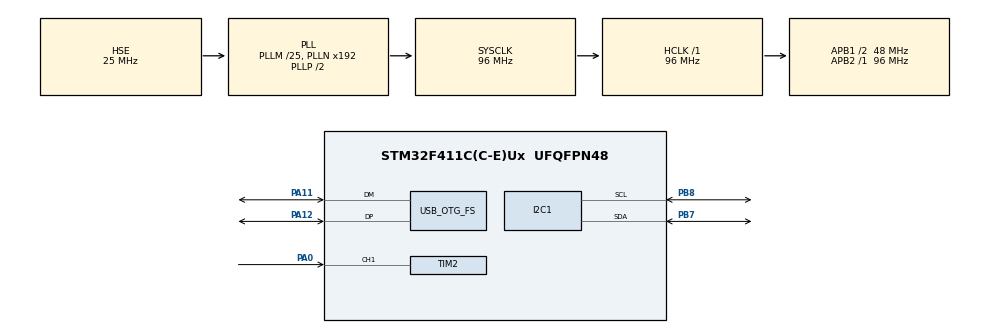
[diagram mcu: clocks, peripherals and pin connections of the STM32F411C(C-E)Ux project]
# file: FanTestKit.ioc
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I2C1.I2C_Mode=I2C_Fast
I2C1.OwnAddress=63
Mcu.Family=STM32F4
Mcu.Name=STM32F411C(C-E)Ux
Mcu.Package=UFQFPN48
NVIC.PriorityGroup=NVIC_PRIORITYGROUP_4
PA0-WKUP.Signal=S_TIM2_CH1_ETR
PA11.Mode=Device_Only
PA11.Signal=USB_OTG_FS_DM
PA12.Mode=Device_Only
PA12.Signal=USB_OTG_FS_DP
PA13.Mode=Serial_Wire
PA13.Signal=SYS_JTMS-SWDIO
PA14.Mode=Serial_Wire
PA14.Signal=SYS_JTCK-SWCLK
PB7.Mode=I2C
PB7.Signal=I2C1_SDA
PB8.Mode=I2C
PB8.Signal=I2C1_SCL
PH0\ -\ OSC_IN.Mode=HSE-External-Oscillator
PH0\ -\ OSC_IN.Signal=RCC_OSC_IN
PH1\ -\ OSC_OUT.Mode=HSE-External-Oscillator
PH1\ -\ OSC_OUT.Signal=RCC_OSC_OUT
ProjectManager.HeapSize=0x200
ProjectManager.StackSize=0x400
ProjectManager.TargetToolchain=STM32CubeIDE
RCC.48MHZClocksFreq_Value=48000000
RCC.AHBFreq_Value=96000000
RCC.APB1CLKDivider=RCC_HCLK_DIV2
RCC.APB1Freq_Value=48000000
RCC.APB1TimFreq_Value=96000000
RCC.APB2Freq_Value=96000000
RCC.APB2TimFreq_Value=96000000
RCC.CortexFreq_Value=96000000
RCC.HCLKFreq_Value=96000000
RCC.HSE_VALUE=25000000
RCC.HSI_VALUE=16000000
RCC.LSE_VALUE=32768
RCC.PLLM=25
RCC.SYSCLKFreq_VALUE=96000000
RCC.SYSCLKSource=RCC_SYSCLKSOURCE_PLLCLK
RCC.VCOOutputFreq_Value=192000000
SH.S_TIM2_CH1_ETR.0=TIM2_CH1,Input_Capture1_from_TI1
TIM2.AutoReloadPreload=TIM_AUTORELOAD_PRELOAD_ENABLE
TIM2.Channel-Input_Capture1_from_TI1=TIM_CHANNEL_1
TIM2.Period=0xffffffff
TIM2.Prescaler=0
USB_OTG_FS.VirtualMode=Device_Only
VP_TIM2_VS_ClockSourceINT.Mode=Internal
board=custom

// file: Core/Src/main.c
/* USER CODE BEGIN Header */
/**
  ******************************************************************************
  * @file           : main.c
  * @brief          : Main program body
  ******************************************************************************
  * @attention
  *
  * Copyright (c) 2026 STMicroelectronics.
  * All rights reserved.
  *
  * This software is licensed under terms that can be found in the LICENSE file
  * in the root directory of this software component.
  * If no LICENSE file comes with this software, it is provided AS-IS.
  *
  ******************************************************************************
  */
/* USER CODE END Header */
#include "main.h"
#include "i2c.h"
#include "tim.h"
#include "usb_otg.h"
#include "gpio.h"

/* USER CODE BEGIN Includes */
#include <string.h>
#include <stdio.h>
#include "FreeRTOS.h"
#include "task.h"
#include "queue.h"
#include "semphr.h"
#include "regmap.h"
#include "usb_device.h"
#include "usbd_composite.h"
#include "usb_cdc_cmd.h"
#include "usb_hid_regmap.h"
#include "cdc_fifo.h"
#include "usbd_def.h"
/* USER CODE END Includes */

/* USER CODE BEGIN PD */
#define TIM2_BASE_CLOCK_HZ  96000000UL
#define FREQ_TIMEOUT_MS     1000U

/* I2C register addresses */
#define REG_PERIOD       0x00   /* R   4 bytes: period in timer ticks */
#define REG_FREQ         0x04   /* R   4 bytes: frequency in Hz */
#define REG_DUTY         0x08   /* R   4 bytes: duty in 0.01% units */
#define REG_PULSE        0x0C   /* R   4 bytes: pulse width in ticks */
#define REG_EDGE         0x10   /* R/W 1 byte:  0=rising, 1=falling */
#define REG_TIM_PSC      0x11   /* R/W 2 bytes: timer prescaler (0-65535) */
#define REG_IC_PSC       0x13   /* R/W 1 byte:  IC prescaler (0-3) */
#define REG_CAPTURE_CTRL 0x14   /* R/W 1 byte:  0=disabled, 1=enabled */

/* Edge configuration values */
#define EDGE_RISING      0
#define EDGE_FALLING     1

/* LEDs */
#define LED_GPIO_PORT       GPIOC
#define LED_GPIO_PIN        GPIO_PIN_13
#define LED_G_GPIO_PORT     GPIOC
#define LED_G_GPIO_PIN      GPIO_PIN_14
#define LED_R_GPIO_PORT     GPIOB
#define LED_R_GPIO_PIN      GPIO_PIN_10
#define LED_DEFAULT_PERIOD  1000U
#define LED_DEFAULT_DUTY    50U

/* I2C registers - LED (active-low status LED on PC13) */
#define REG_LED_PERIOD   0x20   /* R/W 2 bytes: LED blink period in ms */
#define REG_LED_DUTY     0x22   /* R/W 1 byte:  LED on-duty 0-100% */
/* I2C registers - LED_G (PC14) */
#define REG_LED_G_PERIOD 0x23   /* R/W 2 bytes: LED_G blink period in ms */
#define REG_LED_G_DUTY   0x25   /* R/W 1 byte:  LED_G on-duty 0-100% */
/* I2C registers - LED_R (PB10) */
#define REG_LED_R_PERIOD 0x26   /* R/W 2 bytes: LED_R blink period in ms */
#define REG_LED_R_DUTY   0x28   /* R/W 1 byte:  LED_R on-duty 0-100% */
/* I2C registers - config */
#define REG_SAVE_CFG     0x30   /* W   1 byte:  write 0x5A to save config */
#define SAVE_CFG_KEY     0x5A

/* I2C registers - PWM1 output (TIM1_CH1, PA8) */
#define REG_PWM1_FREQ_L  0x40   /* R/W 2 bytes: target freq low 16 bits (Hz) */
#define REG_PWM1_FREQ_H  0x42   /* R/W 2 bytes: target freq high 16 bits (Hz) */
#define REG_PWM1_DUTY    0x44   /* R/W 2 bytes: duty 0-10000 (0.01% units) */
#define REG_PWM1_CTRL    0x46   /* R/W 1 byte:  bit0=enable; write applies staged values */
#define REG_PWM1_PSC     0x47   /* R   2 bytes: auto-computed prescaler */
#define REG_PWM1_ARR     0x49   /* R   2 bytes: auto-computed ARR */
/* I2C registers - PWM2 output (TIM4_CH1, PB6) */
#define REG_PWM2_FREQ_L  0x4B   /* R/W 2 bytes: target freq low 16 bits (Hz) */
#define REG_PWM2_FREQ_H  0x4D   /* R/W 2 bytes: target freq high 16 bits (Hz) */
#define REG_PWM2_DUTY    0x4F   /* R/W 2 bytes: duty 0-10000 (0.01% units) */
#define REG_PWM2_CTRL    0x51   /* R/W 1 byte:  bit0=enable; write applies staged values */
#define REG_PWM2_PSC     0x52   /* R   2 bytes: auto-computed prescaler */
#define REG_PWM2_ARR     0x54   /* R   2 bytes: auto-computed ARR */
/* I2C registers - trigger config */
#define REG_TRIG_WIDTH   0x56   /* R/W 2 bytes: trigger pulse width in us (1-1000) */
/* I2C registers - device nickname */
#define REG_NICKNAME     0x60   /* R/W 16 bytes: device nickname, NUL-padded ASCII */
#define NICKNAME_MAX_LEN 16

/* PWM timer clock (TIM1 APB2, TIM4 APB1 — both 96 MHz with prescaler multiplier) */
#define PWM_TIMER_CLOCK_HZ  96000000UL
#define PWM_DEFAULT_DUTY     5000U   /* 50.00% */
#define PWM_DUTY_MAX         10000U

/* Trigger output (PA7) */
#define TRIG_GPIO_PORT  GPIOA
#define TRIG_GPIO_PIN   GPIO_PIN_7
#define TRIG_DEFAULT_WIDTH_US  10U

/* Flash config storage - Sector 7 (last 128KB sector of STM32F411CE) */
#define CONFIG_FLASH_SECTOR   FLASH_SECTOR_7
#define CONFIG_FLASH_ADDR     0x08060000UL
#define CONFIG_MAGIC          0xDEADBEF5UL
/* USER CODE END PD */

/* USER CODE BEGIN PV */
volatile uint32_t g_period_ticks = 0;
volatile uint32_t g_frequency_hz = 0;
volatile uint32_t g_duty_centipct = 0;   /* duty in 0.01% units (5000 = 50.00%) */
volatile uint32_t g_pulse_ticks = 0;
volatile uint32_t g_last_capture_tick = 0;

uint8_t  g_edge_config = EDGE_RISING;
uint16_t g_tim_psc = 0;
uint8_t  g_ic_psc = 0;           /* 0=DIV1, 1=DIV2, 2=DIV4, 3=DIV8 */
uint8_t  g_capture_enabled = 1;  /* 0=stopped, 1=running */

/* I2C register protocol state */
static uint8_t i2c_reg_addr = 0xFF;
static uint8_t i2c_rx_buf[3];           /* reg addr + up to 2 data bytes */
static uint8_t i2c_tx_buf[112];       /* full register map for burst reads (0x00-0x6F) */

/* PWM output - timer handles */
static TIM_HandleTypeDef htim1_pwm;
static TIM_HandleTypeDef htim4_pwm;

/* PWM1 staging registers (written by I2C/USB, applied on CTRL write) */
uint16_t g_pwm1_freq_l = 0;
uint16_t g_pwm1_freq_h = 0;
uint16_t g_pwm1_duty = PWM_DEFAULT_DUTY;
uint8_t  g_pwm1_ctrl = 0;
/* PWM1 active computed values (read-only via I2C/USB) */
uint16_t g_pwm1_psc = 0;
uint16_t g_pwm1_arr = 0;

/* PWM2 staging registers */
uint16_t g_pwm2_freq_l = 0;
uint16_t g_pwm2_freq_h = 0;
uint16_t g_pwm2_duty = PWM_DEFAULT_DUTY;
uint8_t  g_pwm2_ctrl = 0;
/* PWM2 active computed values */
uint16_t g_pwm2_psc = 0;
uint16_t g_pwm2_arr = 0;

/* Trigger pulse config */
uint16_t g_trig_width_us = TRIG_DEFAULT_WIDTH_US;

/* Device nickname (default = serial number hex) */
char g_nickname[NICKNAME_MAX_LEN + 1] = {0};  /* +1 for NUL terminator */

/* LED parameters (written by I2C/USB, read by LedTask) */
uint16_t g_led_period_ms = LED_DEFAULT_PERIOD;
uint8_t  g_led_duty_pct = LED_DEFAULT_DUTY;
uint16_t g_led_g_period_ms = LED_DEFAULT_PERIOD;
uint8_t  g_led_g_duty_pct = LED_DEFAULT_DUTY;
uint16_t g_led_r_period_ms = LED_DEFAULT_PERIOD;
uint8_t  g_led_r_duty_pct = LED_DEFAULT_DUTY;

/* FreeRTOS */
#define LED_TASK_STACK_SIZE      256  /* words = 1024 bytes */
#define MONITOR_TASK_STACK_SIZE  256  /* words = 1024 bytes */
#define USB_TASK_STACK_SIZE      512  /* words = 2048 bytes */
static TaskHandle_t hLedTask = NULL;
static TaskHandle_t hMonitorTask = NULL;
static TaskHandle_t hUsbTask = NULL;

/* HID event queue (small, 64-byte reports — works fine with FreeRTOS queue) */
typedef struct {
  uint8_t data[64];
  uint16_t len;
} HidEvent_t;

#define HID_QUEUE_LEN  4
static QueueHandle_t hid_evt_queue = NULL;
/* USER CODE END PV */

void SystemClock_Config(void);
/* USER CODE BEGIN PFP */
void Capture_Reconfigure(void);
static void LED_Init(void);
static void LED_G_Init(void);
static void LED_R_Init(void);
static void PWM1_Init(void);
static void PWM2_Init(void);
static void Trigger_GPIO_Init(void);
static uint8_t PWM_ComputeParams(uint32_t freq_hz, uint16_t *psc, uint16_t *arr);
static uint32_t PWM_ComputeCCR(uint16_t arr, uint16_t duty_centipct);
static void PWM_Apply(TIM_HandleTypeDef *htim, uint32_t channel,
                      uint32_t freq_hz, uint16_t duty_centipct,
                      uint8_t enable, uint16_t *out_psc, uint16_t *out_arr);
void Trigger_Pulse(void);
void Config_Save(void);
static void Config_Load(void);
static void Nickname_SetDefault(void);
static void LedTask(void *pvParameters);
static void MonitorTask(void *pvParameters);
static void UsbTask(void *pvParameters);
static uint8_t I2C_BuildTxBuffer(uint8_t start_reg);
void PWM_Apply_Ext(uint8_t pwm_num);
/* USER CODE END PFP */

/* USER CODE BEGIN 0 */

static void Nickname_SetDefault(void)
{
  uint32_t uid0 = *(uint32_t *)0x1FFF7A10U;
  uint32_t uid1 = *(uint32_t *)0x1FFF7A14U;
  uint32_t uid2 = *(uint32_t *)0x1FFF7A18U;
  uint32_t sn0 = uid0 + uid2;
  uint32_t sn1 = uid1;
  snprintf(g_nickname, sizeof(g_nickname), "%08lX%08lX",
           (unsigned long)sn0, (unsigned long)sn1);
}

/* USER CODE END 0 */

int main(void)
{

  /* MCU Configuration--------------------------------------------------------*/

  /* Reset of all peripherals, Initializes the Flash interface and the Systick. */
  HAL_Init();

  /* Configure the system clock */
  SystemClock_Config();

  /* Initialize all configured peripherals */
  MX_GPIO_Init();
  MX_I2C1_Init();
  MX_TIM2_Init();
  MX_USB_OTG_FS_PCD_Init();
  /* USER CODE BEGIN 2 */
  LED_Init();
  LED_G_Init();
  LED_R_Init();
  PWM1_Init();
  PWM2_Init();
  Trigger_GPIO_Init();
  Nickname_SetDefault();   /* set default nickname = serial number */
  Config_Load();           /* overrides with flash-saved nickname if valid */

  HAL_NVIC_SetPriority(TIM2_IRQn, 1, 0);
  HAL_NVIC_EnableIRQ(TIM2_IRQn);

  HAL_NVIC_SetPriority(I2C1_EV_IRQn, 2, 0);
  HAL_NVIC_EnableIRQ(I2C1_EV_IRQn);
  HAL_NVIC_SetPriority(I2C1_ER_IRQn, 2, 0);
  HAL_NVIC_EnableIRQ(I2C1_ER_IRQn);

  if (g_capture_enabled)
  {
    HAL_TIM_IC_Start_IT(&htim2, TIM_CHANNEL_1);
    HAL_TIM_IC_Start(&htim2, TIM_CHANNEL_2);
  }
  HAL_I2C_EnableListen_IT(&hi2c1);

  /* Apply loaded config if non-default */
  if (g_edge_config != EDGE_RISING || g_tim_psc != 0 || g_ic_psc != 0)
  {
    Capture_Reconfigure();
  }

  /* Apply saved PWM config if enabled */
  if (g_pwm1_ctrl & 0x01)
  {
    uint32_t freq = ((uint32_t)g_pwm1_freq_h << 16) | g_pwm1_freq_l;
    PWM_Apply(&htim1_pwm, TIM_CHANNEL_1, freq, g_pwm1_duty,
              1, &g_pwm1_psc, &g_pwm1_arr);
  }
  if (g_pwm2_ctrl & 0x01)
  {
    uint32_t freq = ((uint32_t)g_pwm2_freq_h << 16) | g_pwm2_freq_l;
    PWM_Apply(&htim4_pwm, TIM_CHANNEL_1, freq, g_pwm2_duty,
              1, &g_pwm2_psc, &g_pwm2_arr);
  }

  /* Initialize shared register access layer */
  RegMap_Init();

  /* Initialize CDC FIFOs (RX + TX ring buffers) */
  CDC_FIFO_Init();

  /* Initialize USB composite device (CDC + HID) */
  MX_USB_DEVICE_Init();

  /* HID event queue (CDC uses FIFO instead) */
  hid_evt_queue = xQueueCreate(HID_QUEUE_LEN, sizeof(HidEvent_t));

  /* Create FreeRTOS tasks */
  xTaskCreate(LedTask, "LED", LED_TASK_STACK_SIZE, NULL, 1, &hLedTask);
  xTaskCreate(MonitorTask, "MON", MONITOR_TASK_STACK_SIZE, NULL, 1, &hMonitorTask);
  xTaskCreate(UsbTask, "USB", USB_TASK_STACK_SIZE, NULL, 2, &hUsbTask);

  /* Start scheduler — does not return */
  vTaskStartScheduler();
  /* USER CODE END 2 */

  /* Infinite loop */
  while (1)
  {

    /* USER CODE BEGIN 3 */
    /* Unreachable — scheduler is running */
  }
  /* USER CODE END 3 */
}

void SystemClock_Config(void)
{
  RCC_OscInitTypeDef RCC_OscInitStruct = {0};
  RCC_ClkInitTypeDef RCC_ClkInitStruct = {0};

  /** Configure the main internal regulator output voltage
  */
  __HAL_RCC_PWR_CLK_ENABLE();
  __HAL_PWR_VOLTAGESCALING_CONFIG(PWR_REGULATOR_VOLTAGE_SCALE1);

  /** Initializes the RCC Oscillators according to the specified parameters
  * in the RCC_OscInitTypeDef structure.
  */
  RCC_OscInitStruct.OscillatorType = RCC_OSCILLATORTYPE_HSE;
  RCC_OscInitStruct.HSEState = RCC_HSE_ON;
  RCC_OscInitStruct.PLL.PLLState = RCC_PLL_ON;
  RCC_OscInitStruct.PLL.PLLSource = RCC_PLLSOURCE_HSE;
  RCC_OscInitStruct.PLL.PLLM = 25;
  RCC_OscInitStruct.PLL.PLLN = 192;
  RCC_OscInitStruct.PLL.PLLP = RCC_PLLP_DIV2;
  RCC_OscInitStruct.PLL.PLLQ = 4;
  if (HAL_RCC_OscConfig(&RCC_OscInitStruct) != HAL_OK)
  {
    Error_Handler();
  }

  /** Initializes the CPU, AHB and APB buses clocks
  */
  RCC_ClkInitStruct.ClockType = RCC_CLOCKTYPE_HCLK|RCC_CLOCKTYPE_SYSCLK
                              |RCC_CLOCKTYPE_PCLK1|RCC_CLOCKTYPE_PCLK2;
  RCC_ClkInitStruct.SYSCLKSource = RCC_SYSCLKSOURCE_PLLCLK;
  RCC_ClkInitStruct.AHBCLKDivider = RCC_SYSCLK_DIV1;
  RCC_ClkInitStruct.APB1CLKDivider = RCC_HCLK_DIV2;
  RCC_ClkInitStruct.APB2CLKDivider = RCC_HCLK_DIV1;

  if (HAL_RCC_ClockConfig(&RCC_ClkInitStruct, FLASH_LATENCY_3) != HAL_OK)
  {
    Error_Handler();
  }
}

/* USER CODE BEGIN 4 */

/* --- FreeRTOS Hooks --- */

void vApplicationStackOverflowHook(TaskHandle_t xTask, char *pcTaskName)
{
  (void)xTask;
  (void)pcTaskName;
  for (;;);
}

/* --- LED GPIO Init --- */

static void LED_Init(void)
{
  __HAL_RCC_GPIOC_CLK_ENABLE();
  GPIO_InitTypeDef gpio = {0};
  gpio.Pin = LED_GPIO_PIN;
  gpio.Mode = GPIO_MODE_OUTPUT_PP;
  gpio.Pull = GPIO_NOPULL;
  gpio.Speed = GPIO_SPEED_FREQ_LOW;
  HAL_GPIO_Init(LED_GPIO_PORT, &gpio);
  HAL_GPIO_WritePin(LED_GPIO_PORT, LED_GPIO_PIN, GPIO_PIN_SET); /* off (active-low) */
}

static void LED_G_Init(void)
{
  __HAL_RCC_GPIOC_CLK_ENABLE();
  GPIO_InitTypeDef gpio = {0};
  gpio.Pin = LED_G_GPIO_PIN;
  gpio.Mode = GPIO_MODE_OUTPUT_PP;
  gpio.Pull = GPIO_NOPULL;
  gpio.Speed = GPIO_SPEED_FREQ_LOW;
  HAL_GPIO_Init(LED_G_GPIO_PORT, &gpio);
  HAL_GPIO_WritePin(LED_G_GPIO_PORT, LED_G_GPIO_PIN, GPIO_PIN_RESET); /* off */
}

static void LED_R_Init(void)
{
  __HAL_RCC_GPIOB_CLK_ENABLE();
  GPIO_InitTypeDef gpio = {0};
  gpio.Pin = LED_R_GPIO_PIN;
  gpio.Mode = GPIO_MODE_OUTPUT_PP;
  gpio.Pull = GPIO_NOPULL;
  gpio.Speed = GPIO_SPEED_FREQ_LOW;
  HAL_GPIO_Init(LED_R_GPIO_PORT, &gpio);
  HAL_GPIO_WritePin(LED_R_GPIO_PORT, LED_R_GPIO_PIN, GPIO_PIN_RESET); /* off */
}

/* --- PWM Output Init --- */

static void PWM1_Init(void)
{
  __HAL_RCC_TIM1_CLK_ENABLE();
  __HAL_RCC_GPIOA_CLK_ENABLE();

  GPIO_InitTypeDef gpio = {0};
  gpio.Pin = GPIO_PIN_8;
  gpio.Mode = GPIO_MODE_AF_PP;
  gpio.Pull = GPIO_NOPULL;
  gpio.Speed = GPIO_SPEED_FREQ_HIGH;
  gpio.Alternate = GPIO_AF1_TIM1;
  HAL_GPIO_Init(GPIOA, &gpio);

  htim1_pwm.Instance = TIM1;
  htim1_pwm.Init.Prescaler = 0;
  htim1_pwm.Init.CounterMode = TIM_COUNTERMODE_UP;
  htim1_pwm.Init.Period = 65535;
  htim1_pwm.Init.ClockDivision = TIM_CLOCKDIVISION_DIV1;
  htim1_pwm.Init.RepetitionCounter = 0;
  htim1_pwm.Init.AutoReloadPreload = TIM_AUTORELOAD_PRELOAD_ENABLE;
  HAL_TIM_PWM_Init(&htim1_pwm);

  TIM_OC_InitTypeDef oc = {0};
  oc.OCMode = TIM_OCMODE_PWM1;
  oc.Pulse = 0;
  oc.OCPolarity = TIM_OCPOLARITY_HIGH;
  oc.OCNPolarity = TIM_OCNPOLARITY_HIGH;
  oc.OCFastMode = TIM_OCFAST_DISABLE;
  oc.OCIdleState = TIM_OCIDLESTATE_RESET;
  oc.OCNIdleState = TIM_OCNIDLESTATE_RESET;
  HAL_TIM_PWM_ConfigChannel(&htim1_pwm, &oc, TIM_CHANNEL_1);
}

static void PWM2_Init(void)
{
  __HAL_RCC_TIM4_CLK_ENABLE();
  __HAL_RCC_GPIOB_CLK_ENABLE();

  GPIO_InitTypeDef gpio = {0};
  gpio.Pin = GPIO_PIN_6;
  gpio.Mode = GPIO_MODE_AF_PP;
  gpio.Pull = GPIO_NOPULL;
  gpio.Speed = GPIO_SPEED_FREQ_HIGH;
  gpio.Alternate = GPIO_AF2_TIM4;
  HAL_GPIO_Init(GPIOB, &gpio);

  htim4_pwm.Instance = TIM4;
  htim4_pwm.Init.Prescaler = 0;
  htim4_pwm.Init.CounterMode = TIM_COUNTERMODE_UP;
  htim4_pwm.Init.Period = 65535;
  htim4_pwm.Init.ClockDivision = TIM_CLOCKDIVISION_DIV1;
  htim4_pwm.Init.RepetitionCounter = 0;
  htim4_pwm.Init.AutoReloadPreload = TIM_AUTORELOAD_PRELOAD_ENABLE;
  HAL_TIM_PWM_Init(&htim4_pwm);

  TIM_OC_InitTypeDef oc = {0};
  oc.OCMode = TIM_OCMODE_PWM1;
  oc.Pulse = 0;
  oc.OCPolarity = TIM_OCPOLARITY_HIGH;
  oc.OCFastMode = TIM_OCFAST_DISABLE;
  HAL_TIM_PWM_ConfigChannel(&htim4_pwm, &oc, TIM_CHANNEL_1);
}

static void Trigger_GPIO_Init(void)
{
  __HAL_RCC_GPIOA_CLK_ENABLE();
  GPIO_InitTypeDef gpio = {0};
  gpio.Pin = TRIG_GPIO_PIN;
  gpio.Mode = GPIO_MODE_OUTPUT_PP;
  gpio.Pull = GPIO_NOPULL;
  gpio.Speed = GPIO_SPEED_FREQ_VERY_HIGH;
  HAL_GPIO_Init(TRIG_GPIO_PORT, &gpio);
  HAL_GPIO_WritePin(TRIG_GPIO_PORT, TRIG_GPIO_PIN, GPIO_PIN_RESET);
}

/* --- PWM Auto-Prescaler and Glitch-Free Apply --- */

static uint8_t PWM_ComputeParams(uint32_t freq_hz, uint16_t *psc, uint16_t *arr)
{
  if (freq_hz == 0) return 1;
  uint32_t total = PWM_TIMER_CLOCK_HZ / freq_hz;
  if (total < 2) return 1;
  uint32_t prescaler = (total > 65536) ? (total - 1) / 65536 : 0;
  if (prescaler > 65535) return 1;
  uint32_t period = total / (prescaler + 1) - 1;
  if (period > 65535) period = 65535;
  if (period == 0) period = 1;
  *psc = (uint16_t)prescaler;
  *arr = (uint16_t)period;
  return 0;
}

static uint32_t PWM_ComputeCCR(uint16_t arr, uint16_t duty_centipct)
{
  if (duty_centipct >= PWM_DUTY_MAX) return (uint32_t)arr + 1;
  if (duty_centipct == 0) return 0;
  return (uint32_t)(arr + 1) * duty_centipct / PWM_DUTY_MAX;
}

static void PWM_Apply(TIM_HandleTypeDef *htim, uint32_t channel,
                      uint32_t freq_hz, uint16_t duty_centipct,
                      uint8_t enable, uint16_t *out_psc, uint16_t *out_arr)
{
  if (!enable || freq_hz == 0)
  {
    HAL_TIM_PWM_Stop(htim, channel);
    *out_psc = 0;
    *out_arr = 0;
    return;
  }

  uint16_t psc, arr;
  if (PWM_ComputeParams(freq_hz, &psc, &arr) != 0)
  {
    *out_psc = 0;
    *out_arr = 0;
    return;
  }
  uint32_t ccr = PWM_ComputeCCR(arr, duty_centipct);

  __HAL_TIM_SET_PRESCALER(htim, psc);
  __HAL_TIM_SET_AUTORELOAD(htim, arr);
  __HAL_TIM_SET_COMPARE(htim, channel, ccr);
  htim->Instance->EGR = TIM_EGR_UG;

  *out_psc = psc;
  *out_arr = arr;

  if (!(htim->Instance->CR1 & TIM_CR1_CEN))
  {
    HAL_TIM_PWM_Start(htim, channel);
  }
}

void Trigger_Pulse(void)
{
  uint32_t loops = (uint32_t)g_trig_width_us * 24;  /* ~96MHz/4 cycles per loop */
  TRIG_GPIO_PORT->BSRR = TRIG_GPIO_PIN;
  for (volatile uint32_t i = 0; i < loops; i++) {}
  TRIG_GPIO_PORT->BSRR = (uint32_t)TRIG_GPIO_PIN << 16;
}

/* --- FreeRTOS Tasks --- */

static void LedTask(void *pvParameters)
{
  (void)pvParameters;
  TickType_t now = xTaskGetTickCount();
  uint8_t led_on = 0, led_g_on = 0, led_r_on = 0;
  TickType_t led_next = now, led_g_next = now, led_r_next = now;

  for (;;)
  {
    now = xTaskGetTickCount();

    /* Status LED (PC13, active-low) */
    if ((int32_t)(now - led_next) >= 0)
    {
      uint32_t on_time = (uint32_t)g_led_period_ms * g_led_duty_pct / 100;
      uint32_t off_time = g_led_period_ms - on_time;
      if (led_on) {
        HAL_GPIO_WritePin(LED_GPIO_PORT, LED_GPIO_PIN, GPIO_PIN_SET);
        led_on = 0;
        led_next = now + off_time;
      } else {
        HAL_GPIO_WritePin(LED_GPIO_PORT, LED_GPIO_PIN, GPIO_PIN_RESET);
        led_on = 1;
        led_next = now + on_time;
      }
    }

    /* Green LED (PC14, active-high) */
    if ((int32_t)(now - led_g_next) >= 0)
    {
      uint32_t on_time = (uint32_t)g_led_g_period_ms * g_led_g_duty_pct / 100;
      uint32_t off_time = g_led_g_period_ms - on_time;
      if (led_g_on) {
        HAL_GPIO_WritePin(LED_G_GPIO_PORT, LED_G_GPIO_PIN, GPIO_PIN_RESET);
        led_g_on = 0;
        led_g_next = now + off_time;
      } else {
        HAL_GPIO_WritePin(LED_G_GPIO_PORT, LED_G_GPIO_PIN, GPIO_PIN_SET);
        led_g_on = 1;
        led_g_next = now + on_time;
      }
    }

    /* Red LED (PB10, active-high) */
    if ((int32_t)(now - led_r_next) >= 0)
    {
      uint32_t on_time = (uint32_t)g_led_r_period_ms * g_led_r_duty_pct / 100;
      uint32_t off_time = g_led_r_period_ms - on_time;
      if (led_r_on) {
        HAL_GPIO_WritePin(LED_R_GPIO_PORT, LED_R_GPIO_PIN, GPIO_PIN_RESET);
        led_r_on = 0;
        led_r_next = now + off_time;
      } else {
        HAL_GPIO_WritePin(LED_R_GPIO_PORT, LED_R_GPIO_PIN, GPIO_PIN_SET);
        led_r_on = 1;
        led_r_next = now + on_time;
      }
    }

    vTaskDelay(pdMS_TO_TICKS(10));
  }
}

static void MonitorTask(void *pvParameters)
{
  (void)pvParameters;

  for (;;)
  {
    if (!g_capture_enabled ||
        HAL_GetTick() - g_last_capture_tick > FREQ_TIMEOUT_MS)
    {
      g_period_ticks = 0;
      g_frequency_hz = 0;
      g_duty_centipct = 0;
      g_pulse_ticks = 0;
    }
    vTaskDelay(pdMS_TO_TICKS(100));
  }
}

/* --- Flash Config Storage --- */

typedef struct {
  uint32_t magic;
  uint8_t  edge_config;
  uint16_t tim_psc;
  uint8_t  ic_psc;
  uint8_t  capture_enabled;
  uint16_t led_period_ms;
  uint8_t  led_duty_pct;
  uint16_t led_g_period_ms;
  uint8_t  led_g_duty_pct;
  uint16_t led_r_period_ms;
  uint8_t  led_r_duty_pct;
  /* PWM outputs */
  uint16_t pwm1_freq_l;
  uint16_t pwm1_freq_h;
  uint16_t pwm1_duty;
  uint8_t  pwm1_ctrl;
  uint16_t pwm2_freq_l;
  uint16_t pwm2_freq_h;
  uint16_t pwm2_duty;
  uint8_t  pwm2_ctrl;
  uint16_t trig_width_us;
  char     nickname[NICKNAME_MAX_LEN];  /* 16 bytes, NUL-padded */
} ConfigData_t;

static void Config_Load(void)
{
  const ConfigData_t *cfg = (const ConfigData_t *)CONFIG_FLASH_ADDR;
  if (cfg->magic != CONFIG_MAGIC) return;

  g_edge_config     = cfg->edge_config <= EDGE_FALLING ? cfg->edge_config : EDGE_RISING;
  g_tim_psc         = cfg->tim_psc;
  g_ic_psc          = cfg->ic_psc <= 3 ? cfg->ic_psc : 0;
  g_capture_enabled = cfg->capture_enabled <= 1 ? cfg->capture_enabled : 1;
  g_led_period_ms   = cfg->led_period_ms > 0 ? cfg->led_period_ms : LED_DEFAULT_PERIOD;
  g_led_duty_pct    = cfg->led_duty_pct <= 100 ? cfg->led_duty_pct : LED_DEFAULT_DUTY;
  g_led_g_period_ms = cfg->led_g_period_ms > 0 ? cfg->led_g_period_ms : LED_DEFAULT_PERIOD;
  g_led_g_duty_pct  = cfg->led_g_duty_pct <= 100 ? cfg->led_g_duty_pct : LED_DEFAULT_DUTY;
  g_led_r_period_ms = cfg->led_r_period_ms > 0 ? cfg->led_r_period_ms : LED_DEFAULT_PERIOD;
  g_led_r_duty_pct  = cfg->led_r_duty_pct <= 100 ? cfg->led_r_duty_pct : LED_DEFAULT_DUTY;

  /* PWM outputs */
  g_pwm1_freq_l    = cfg->pwm1_freq_l;
  g_pwm1_freq_h    = cfg->pwm1_freq_h;
  g_pwm1_duty      = cfg->pwm1_duty <= PWM_DUTY_MAX ? cfg->pwm1_duty : PWM_DEFAULT_DUTY;
  g_pwm1_ctrl      = cfg->pwm1_ctrl;
  g_pwm2_freq_l    = cfg->pwm2_freq_l;
  g_pwm2_freq_h    = cfg->pwm2_freq_h;
  g_pwm2_duty      = cfg->pwm2_duty <= PWM_DUTY_MAX ? cfg->pwm2_duty : PWM_DEFAULT_DUTY;
  g_pwm2_ctrl      = cfg->pwm2_ctrl;
  g_trig_width_us  = (cfg->trig_width_us >= 1 && cfg->trig_width_us <= 1000)
                       ? cfg->trig_width_us : TRIG_DEFAULT_WIDTH_US;

  /* Nickname: load if valid (non-NUL, non-0xFF first byte) */
  if (cfg->nickname[0] != '\0' && cfg->nickname[0] != (char)0xFF) {
    memcpy(g_nickname, cfg->nickname, NICKNAME_MAX_LEN);
    g_nickname[NICKNAME_MAX_LEN] = '\0';
  }
}

void Config_Save(void)
{
  ConfigData_t cfg;
  cfg.magic           = CONFIG_MAGIC;
  cfg.edge_config     = g_edge_config;
  cfg.tim_psc         = g_tim_psc;
  cfg.ic_psc          = g_ic_psc;
  cfg.capture_enabled = g_capture_enabled;
  cfg.led_period_ms   = g_led_period_ms;
  cfg.led_duty_pct    = g_led_duty_pct;
  cfg.led_g_period_ms = g_led_g_period_ms;
  cfg.led_g_duty_pct  = g_led_g_duty_pct;
  cfg.led_r_period_ms = g_led_r_period_ms;
  cfg.led_r_duty_pct  = g_led_r_duty_pct;
  cfg.pwm1_freq_l     = g_pwm1_freq_l;
  cfg.pwm1_freq_h     = g_pwm1_freq_h;
  cfg.pwm1_duty       = g_pwm1_duty;
  cfg.pwm1_ctrl       = g_pwm1_ctrl;
  cfg.pwm2_freq_l     = g_pwm2_freq_l;
  cfg.pwm2_freq_h     = g_pwm2_freq_h;
  cfg.pwm2_duty       = g_pwm2_duty;
  cfg.pwm2_ctrl       = g_pwm2_ctrl;
  cfg.trig_width_us   = g_trig_width_us;
  memcpy(cfg.nickname, g_nickname, NICKNAME_MAX_LEN);

  HAL_FLASH_Unlock();

  FLASH_EraseInitTypeDef erase = {0};
  erase.TypeErase = FLASH_TYPEERASE_SECTORS;
  erase.Sector = CONFIG_FLASH_SECTOR;
  erase.NbSectors = 1;
  erase.VoltageRange = FLASH_VOLTAGE_RANGE_3;
  uint32_t error = 0;
  HAL_FLASHEx_Erase(&erase, &error);

  uint32_t *src = (uint32_t *)&cfg;
  uint32_t addr = CONFIG_FLASH_ADDR;
  for (uint32_t i = 0; i < sizeof(ConfigData_t) / 4; i++)
  {
    HAL_FLASH_Program(FLASH_TYPEPROGRAM_WORD, addr, src[i]);
    addr += 4;
  }

  HAL_FLASH_Lock();
}

/* --- Full timer reconfiguration (edge, prescalers) --- */

static const uint32_t ic_psc_map[] = {
    TIM_ICPSC_DIV1, TIM_ICPSC_DIV2, TIM_ICPSC_DIV4, TIM_ICPSC_DIV8
};

void Capture_Reconfigure(void)
{
  HAL_TIM_IC_Stop_IT(&htim2, TIM_CHANNEL_1);
  HAL_TIM_IC_Stop(&htim2, TIM_CHANNEL_2);

  /* Timer prescaler */
  __HAL_TIM_SET_PRESCALER(&htim2, g_tim_psc);
  __HAL_TIM_SET_COUNTER(&htim2, 0);
  htim2.Instance->EGR = TIM_EGR_UG;

  /* CH1: direct, period edge */
  TIM_IC_InitTypeDef sConfigIC = {0};
  sConfigIC.ICSelection = TIM_ICSELECTION_DIRECTTI;
  sConfigIC.ICPrescaler = ic_psc_map[g_ic_psc & 0x03];
  sConfigIC.ICFilter = 0;

  /* CH2: indirect, opposite edge for pulse width */
  TIM_IC_InitTypeDef sConfigIC2 = {0};
  sConfigIC2.ICSelection = TIM_ICSELECTION_INDIRECTTI;
  sConfigIC2.ICPrescaler = TIM_ICPSC_DIV1;
  sConfigIC2.ICFilter = 0;

  TIM_SlaveConfigTypeDef sSlaveConfig = {0};
  sSlaveConfig.SlaveMode = TIM_SLAVEMODE_RESET;
  sSlaveConfig.InputTrigger = TIM_TS_TI1FP1;
  sSlaveConfig.TriggerFilter = 0;

  if (g_edge_config == EDGE_RISING)
  {
    /* INDIRECTTI quirk: to measure high-time on "rising edge" setting,
       CH1 must capture on falling, CH2 (indirect) on rising. */
    sConfigIC.ICPolarity = TIM_INPUTCHANNELPOLARITY_FALLING;
    sConfigIC2.ICPolarity = TIM_INPUTCHANNELPOLARITY_RISING;
    sSlaveConfig.TriggerPolarity = TIM_INPUTCHANNELPOLARITY_FALLING;
  }
  else
  {
    sConfigIC.ICPolarity = TIM_INPUTCHANNELPOLARITY_RISING;
    sConfigIC2.ICPolarity = TIM_INPUTCHANNELPOLARITY_FALLING;
    sSlaveConfig.TriggerPolarity = TIM_INPUTCHANNELPOLARITY_RISING;
  }

  HAL_TIM_IC_ConfigChannel(&htim2, &sConfigIC, TIM_CHANNEL_1);
  HAL_TIM_IC_ConfigChannel(&htim2, &sConfigIC2, TIM_CHANNEL_2);
  HAL_TIM_SlaveConfigSynchro(&htim2, &sSlaveConfig);

  /* Clear measurements */
  g_period_ticks = 0;
  g_frequency_hz = 0;
  g_duty_centipct = 0;
  g_pulse_ticks = 0;

  /* Only restart capture if enabled */
  if (g_capture_enabled)
  {
    HAL_TIM_IC_Start_IT(&htim2, TIM_CHANNEL_1);
    HAL_TIM_IC_Start(&htim2, TIM_CHANNEL_2);
  }
}

/* --- TIM2 Input Capture (PWM Input mode) --- */

void HAL_TIM_IC_CaptureCallback(TIM_HandleTypeDef *htim)
{
  if (htim->Instance == TIM2 && htim->Channel == HAL_TIM_ACTIVE_CHANNEL_1)
  {
    uint32_t period = HAL_TIM_ReadCapturedValue(htim, TIM_CHANNEL_1) + 1;
    uint32_t pulse  = HAL_TIM_ReadCapturedValue(htim, TIM_CHANNEL_2) + 1;

    if (period > 1)
    {
      uint32_t timer_clock = TIM2_BASE_CLOCK_HZ / (g_tim_psc + 1);
      /* In slave-reset mode, TI1FP1 resets the counter every signal cycle
       * regardless of IC prescaler.  IC prescaler only reduces how often the
       * capture interrupt fires — the captured value is always one period.
       * No ic_div scaling needed. */
      g_period_ticks = period;
      g_pulse_ticks = pulse;
      g_frequency_hz = (uint32_t)((uint64_t)timer_clock / period);
      g_duty_centipct = (uint32_t)((uint64_t)pulse * 10000 / period);
    }
    g_last_capture_tick = HAL_GetTick();
  }
}

/* --- I2C Slave Register Protocol --- */

#define REG_MAP_END  0x70  /* one past last register byte (NICKNAME at 0x60, 16 bytes) */

static uint8_t I2C_BuildTxBuffer(uint8_t start_reg)
{
  /* Build a contiguous register-map image in i2c_tx_buf.
   * Returns the number of bytes available from start_reg onward.
   * Master can read as many bytes as it wants in a burst. */
  memset(i2c_tx_buf, 0, sizeof(i2c_tx_buf));

  /* 0x00-0x0F: measurement registers (4 bytes each) */
  uint32_t period = g_period_ticks;
  uint32_t freq   = g_frequency_hz;
  uint32_t duty   = g_duty_centipct;
  uint32_t pulse  = g_pulse_ticks;
  memcpy(&i2c_tx_buf[0x00], &period, 4);
  memcpy(&i2c_tx_buf[0x04], &freq, 4);
  memcpy(&i2c_tx_buf[0x08], &duty, 4);
  memcpy(&i2c_tx_buf[0x0C], &pulse, 4);

  /* 0x10-0x13: capture config */
  i2c_tx_buf[0x10] = g_edge_config;
  memcpy(&i2c_tx_buf[0x11], &g_tim_psc, 2);
  i2c_tx_buf[0x13] = g_ic_psc;
  i2c_tx_buf[0x14] = g_capture_enabled;

  /* 0x15-0x1F: reserved (zeroed by memset) */

  /* 0x20-0x28: LED config */
  memcpy(&i2c_tx_buf[0x20], &g_led_period_ms, 2);
  i2c_tx_buf[0x22] = g_led_duty_pct;
  memcpy(&i2c_tx_buf[0x23], &g_led_g_period_ms, 2);
  i2c_tx_buf[0x25] = g_led_g_duty_pct;
  memcpy(&i2c_tx_buf[0x26], &g_led_r_period_ms, 2);
  i2c_tx_buf[0x28] = g_led_r_duty_pct;

  /* 0x29-0x3F: reserved (zeroed by memset) */

  /* 0x40-0x4A: PWM1 config */
  memcpy(&i2c_tx_buf[0x40], &g_pwm1_freq_l, 2);
  memcpy(&i2c_tx_buf[0x42], &g_pwm1_freq_h, 2);
  memcpy(&i2c_tx_buf[0x44], &g_pwm1_duty, 2);
  i2c_tx_buf[0x46] = g_pwm1_ctrl;
  memcpy(&i2c_tx_buf[0x47], &g_pwm1_psc, 2);
  memcpy(&i2c_tx_buf[0x49], &g_pwm1_arr, 2);

  /* 0x4B-0x55: PWM2 config */
  memcpy(&i2c_tx_buf[0x4B], &g_pwm2_freq_l, 2);
  memcpy(&i2c_tx_buf[0x4D], &g_pwm2_freq_h, 2);
  memcpy(&i2c_tx_buf[0x4F], &g_pwm2_duty, 2);
  i2c_tx_buf[0x51] = g_pwm2_ctrl;
  memcpy(&i2c_tx_buf[0x52], &g_pwm2_psc, 2);
  memcpy(&i2c_tx_buf[0x54], &g_pwm2_arr, 2);

  /* 0x56-0x57: trigger config */
  memcpy(&i2c_tx_buf[0x56], &g_trig_width_us, 2);

  /* 0x60-0x6F: device nickname */
  memcpy(&i2c_tx_buf[0x60], g_nickname, NICKNAME_MAX_LEN);

  if (start_reg >= REG_MAP_END) return 1; /* fallback: send 1 zero byte */
  return REG_MAP_END - start_reg;
}

void HAL_I2C_AddrCallback(I2C_HandleTypeDef *hi2c, uint8_t TransferDirection,
                           uint16_t AddrMatchCode)
{
  if (hi2c->Instance != I2C1) return;

  if (TransferDirection == I2C_DIRECTION_TRANSMIT)
  {
    /* Master is writing: receive reg addr + up to 2 data bytes */
    HAL_I2C_Slave_Seq_Receive_IT(hi2c, i2c_rx_buf, 3, I2C_FIRST_FRAME);
  }
  else /* I2C_DIRECTION_RECEIVE — master is reading */
  {
    /* Capture register address from the write phase (may not have triggered RxCplt) */
    i2c_reg_addr = i2c_rx_buf[0];

    /* Build register map snapshot from selected register onward */
    uint8_t len = I2C_BuildTxBuffer(i2c_reg_addr);
    HAL_I2C_Slave_Seq_Transmit_IT(hi2c, &i2c_tx_buf[i2c_reg_addr < REG_MAP_END ? i2c_reg_addr : 0],
                                   len, I2C_LAST_FRAME);
  }
}

void HAL_I2C_SlaveRxCpltCallback(I2C_HandleTypeDef *hi2c)
{
  if (hi2c->Instance != I2C1) return;

  i2c_reg_addr = i2c_rx_buf[0];
  uint8_t need_reconfig = 0;

  switch (i2c_reg_addr)
  {
  case REG_EDGE:
    if (i2c_rx_buf[1] <= EDGE_FALLING && i2c_rx_buf[1] != g_edge_config)
    {
      g_edge_config = i2c_rx_buf[1];
      need_reconfig = 1;
    }
    break;
  case REG_TIM_PSC:
  {
    uint16_t new_psc;
    memcpy(&new_psc, &i2c_rx_buf[1], 2);
    if (new_psc != g_tim_psc)
    {
      g_tim_psc = new_psc;
      need_reconfig = 1;
    }
    break;
  }
  case REG_IC_PSC:
    if (i2c_rx_buf[1] <= 3 && i2c_rx_buf[1] != g_ic_psc)
    {
      g_ic_psc = i2c_rx_buf[1];
      need_reconfig = 1;
    }
    break;
  case REG_CAPTURE_CTRL:
    if (i2c_rx_buf[1] <= 1 && i2c_rx_buf[1] != g_capture_enabled)
    {
      g_capture_enabled = i2c_rx_buf[1];
      need_reconfig = 1;
    }
    break;
  case REG_LED_PERIOD:
  {
    uint16_t new_period;
    memcpy(&new_period, &i2c_rx_buf[1], 2);
    if (new_period > 0) g_led_period_ms = new_period;
    break;
  }
  case REG_LED_DUTY:
    if (i2c_rx_buf[1] <= 100) g_led_duty_pct = i2c_rx_buf[1];
    break;
  case REG_LED_G_PERIOD:
  {
    uint16_t new_period;
    memcpy(&new_period, &i2c_rx_buf[1], 2);
    if (new_period > 0) g_led_g_period_ms = new_period;
    break;
  }
  case REG_LED_G_DUTY:
    if (i2c_rx_buf[1] <= 100) g_led_g_duty_pct = i2c_rx_buf[1];
    break;
  case REG_LED_R_PERIOD:
  {
    uint16_t new_period;
    memcpy(&new_period, &i2c_rx_buf[1], 2);
    if (new_period > 0) g_led_r_period_ms = new_period;
    break;
  }
  case REG_LED_R_DUTY:
    if (i2c_rx_buf[1] <= 100) g_led_r_duty_pct = i2c_rx_buf[1];
    break;
  case REG_SAVE_CFG:
    if (i2c_rx_buf[1] == SAVE_CFG_KEY) Config_Save();
    break;

  /* --- PWM1 registers --- */
  case REG_PWM1_FREQ_L:
  {
    uint16_t val;
    memcpy(&val, &i2c_rx_buf[1], 2);
    g_pwm1_freq_l = val;
    break;
  }
  case REG_PWM1_FREQ_H:
  {
    uint16_t val;
    memcpy(&val, &i2c_rx_buf[1], 2);
    g_pwm1_freq_h = val;
    break;
  }
  case REG_PWM1_DUTY:
  {
    uint16_t val;
    memcpy(&val, &i2c_rx_buf[1], 2);
    if (val <= PWM_DUTY_MAX) g_pwm1_duty = val;
    break;
  }
  case REG_PWM1_CTRL:
  {
    g_pwm1_ctrl = i2c_rx_buf[1];
    uint32_t freq = ((uint32_t)g_pwm1_freq_h << 16) | g_pwm1_freq_l;
    PWM_Apply(&htim1_pwm, TIM_CHANNEL_1, freq, g_pwm1_duty,
              g_pwm1_ctrl & 0x01, &g_pwm1_psc, &g_pwm1_arr);
    Trigger_Pulse();
    break;
  }

  /* --- PWM2 registers --- */
  case REG_PWM2_FREQ_L:
  {
    uint16_t val;
    memcpy(&val, &i2c_rx_buf[1], 2);
    g_pwm2_freq_l = val;
    break;
  }
  case REG_PWM2_FREQ_H:
  {
    uint16_t val;
    memcpy(&val, &i2c_rx_buf[1], 2);
    g_pwm2_freq_h = val;
    break;
  }
  case REG_PWM2_DUTY:
  {
    uint16_t val;
    memcpy(&val, &i2c_rx_buf[1], 2);
    if (val <= PWM_DUTY_MAX) g_pwm2_duty = val;
    break;
  }
  case REG_PWM2_CTRL:
  {
    g_pwm2_ctrl = i2c_rx_buf[1];
    uint32_t freq = ((uint32_t)g_pwm2_freq_h << 16) | g_pwm2_freq_l;
    PWM_Apply(&htim4_pwm, TIM_CHANNEL_1, freq, g_pwm2_duty,
              g_pwm2_ctrl & 0x01, &g_pwm2_psc, &g_pwm2_arr);
    Trigger_Pulse();
    break;
  }

  /* --- Trigger config --- */
  case REG_TRIG_WIDTH:
  {
    uint16_t val;
    memcpy(&val, &i2c_rx_buf[1], 2);
    if (val >= 1 && val <= 1000) g_trig_width_us = val;
    break;
  }

  default:
    /* Byte-level writes within nickname region (0x60-0x6F).
     * I2C sends at most 2 data bytes per transaction, so writing a full
     * 16-char nickname requires 8 transactions.  Unlike the USB/RegMap_Write
     * path, partial writes here do NOT zero-pad the remainder — the caller
     * must explicitly write all 16 bytes to fully replace the nickname. */
    if (i2c_reg_addr >= REG_NICKNAME && i2c_reg_addr < REG_NICKNAME + NICKNAME_MAX_LEN)
    {
      uint8_t offset = i2c_reg_addr - REG_NICKNAME;
      uint8_t max_copy = NICKNAME_MAX_LEN - offset;
      uint8_t copy_len = (2 > max_copy) ? max_copy : 2;
      memcpy(&g_nickname[offset], &i2c_rx_buf[1], copy_len);
      g_nickname[NICKNAME_MAX_LEN] = '\0';
    }
    break;
  }

  if (need_reconfig)
  {
    Capture_Reconfigure();
  }
}

void HAL_I2C_ListenCpltCallback(I2C_HandleTypeDef *hi2c)
{
  HAL_I2C_EnableListen_IT(hi2c);
}

void HAL_I2C_ErrorCallback(I2C_HandleTypeDef *hi2c)
{
  HAL_I2C_EnableListen_IT(hi2c);
}

/* --- PWM_Apply_Ext: wrapper for regmap.c to call --- */

void PWM_Apply_Ext(uint8_t pwm_num)
{
  if (pwm_num == 1)
  {
    uint32_t freq = ((uint32_t)g_pwm1_freq_h << 16) | g_pwm1_freq_l;
    PWM_Apply(&htim1_pwm, TIM_CHANNEL_1, freq, g_pwm1_duty,
              g_pwm1_ctrl & 0x01, &g_pwm1_psc, &g_pwm1_arr);
  }
  else if (pwm_num == 2)
  {
    uint32_t freq = ((uint32_t)g_pwm2_freq_h << 16) | g_pwm2_freq_l;
    PWM_Apply(&htim4_pwm, TIM_CHANNEL_1, freq, g_pwm2_duty,
              g_pwm2_ctrl & 0x01, &g_pwm2_psc, &g_pwm2_arr);
  }
}

/* --- USB Event Helpers (called from USB ISR callbacks) --- */

void USB_EnqueueCdcRx(const uint8_t *data, uint16_t len)
{
  /* CDC now uses FIFO — this is called from usb_device.c CDC_Receive_FS
   * which already calls CDC_RxPush + CDC_RxNotifyFromISR directly.
   * This stub is kept for API compatibility. */
  (void)data; (void)len;
}

void USB_EnqueueHidRx(const uint8_t *data, uint16_t len)
{
  if (hid_evt_queue == NULL) return;
  HidEvent_t evt;
  evt.len = (len > 64) ? 64 : len;
  memcpy(evt.data, data, evt.len);
  BaseType_t xHigherPriorityTaskWoken = pdFALSE;
  xQueueSendFromISR(hid_evt_queue, &evt, &xHigherPriorityTaskWoken);
  portYIELD_FROM_ISR(xHigherPriorityTaskWoken);
}

/* --- USB Processing Task (FIFO-based) --- */

static char     usb_line_buf[128];
static uint16_t usb_line_pos;

static void UsbTask(void *pvParameters)
{
  (void)pvParameters;
  static uint8_t tx_chunk[64];
  static uint8_t hid_resp[64];
  HidEvent_t hid_evt;

  usb_line_pos = 0;

  for (;;)
  {
    /* 1. Drain TX FIFO → USB CDC IN (non-blocking) */
    if (CDC_TxAvailable() > 0 && !CDC_TxBusy())
    {
      uint16_t n = CDC_TxPop(tx_chunk, 64);
      if (n > 0)
      {
        USBD_CDC_Transmit(&hUsbDeviceFS, tx_chunk, n);
      }
    }

    /* 2. Drain RX FIFO → parse lines → push responses to TX FIFO */
    {
      int16_t c;
      while ((c = CDC_RxPopByte()) >= 0)
      {
        if (c == '\r' || c == '\n')
        {
          if (usb_line_pos > 0)
          {
            usb_line_buf[usb_line_pos] = '\0';
            CDC_TxPush((const uint8_t *)"\r\n", 2);
            CDC_ParseLine(usb_line_buf);
            usb_line_pos = 0;
          }
        }
        else
        {
          if (usb_line_pos < sizeof(usb_line_buf) - 1)
          {
            usb_line_buf[usb_line_pos++] = (char)c;
          }
        }
      }
    }

    /* 3. Check HID queue (non-blocking) */
    if (xQueueReceive(hid_evt_queue, &hid_evt, 0) == pdTRUE)
    {
      HID_ProcessReport(hid_evt.data, hid_resp);
      USBD_HID_SendReport(&hUsbDeviceFS, hid_resp, 64);
    }

    /* 4. Sleep if nothing to do — wake on RX data or timeout */
    if (CDC_RxAvailable() == 0 && CDC_TxAvailable() == 0)
    {
      CDC_RxWait(5);
    }
  }
}

/* USER CODE END 4 */

void Error_Handler(void)
{
  __disable_irq();
  while (1)
  {
  }
}
